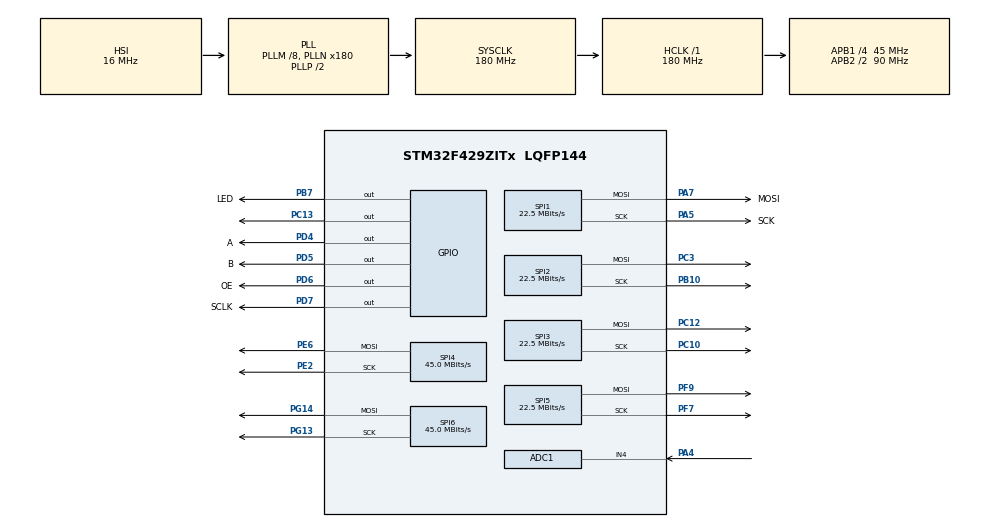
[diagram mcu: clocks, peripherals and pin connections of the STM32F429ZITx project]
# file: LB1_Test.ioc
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ADC1.Channel-3\#ChannelRegularConversion=ADC_CHANNEL_4
ADC1.NbrOfConversionFlag=1
ADC1.Rank-3\#ChannelRegularConversion=1
ADC1.SamplingTime-3\#ChannelRegularConversion=ADC_SAMPLETIME_3CYCLES
ADC1.master=1
Mcu.Family=STM32F4
Mcu.Name=STM32F429ZITx
Mcu.Package=LQFP144
NVIC.PriorityGroup=NVIC_PRIORITYGROUP_4
NVIC.RCC_IRQn=true\:0\:0\:false\:false\:true\:true\:false\:true
NVIC.TIM1_UP_TIM10_IRQn=true\:0\:0\:false\:false\:true\:true\:true\:true
NVIC.TIM2_IRQn=true\:0\:0\:false\:false\:true\:true\:true\:true
PA4.Signal=ADCx_IN4
PA5.GPIO_Label=SCK
PA5.Mode=TX_Only_Simplex_Unidirect_Master
PA5.Signal=SPI1_SCK
PA7.GPIO_Label=MOSI
PA7.Mode=TX_Only_Simplex_Unidirect_Master
PA7.Signal=SPI1_MOSI
PB10.Mode=TX_Only_Simplex_Unidirect_Master
PB10.Signal=SPI2_SCK
PB7.GPIO_Label=LED
PB7.Signal=GPIO_Output
PC10.Mode=TX_Only_Simplex_Unidirect_Master
PC10.Signal=SPI3_SCK
PC12.Mode=TX_Only_Simplex_Unidirect_Master
PC12.Signal=SPI3_MOSI
PC13.Signal=GPIO_Output
PC14/OSC32_IN.Mode=LSE-External-Oscillator
PC14/OSC32_IN.Signal=RCC_OSC32_IN
PC15/OSC32_OUT.Mode=LSE-External-Oscillator
PC15/OSC32_OUT.Signal=RCC_OSC32_OUT
PC3.Mode=TX_Only_Simplex_Unidirect_Master
PC3.Signal=SPI2_MOSI
PD4.GPIO_Label=A
PD4.Signal=GPIO_Output
PD5.GPIO_Label=B
PD5.Signal=GPIO_Output
PD6.GPIO_Label=OE
PD6.Signal=GPIO_Output
PD7.GPIO_Label=SCLK
PD7.Signal=GPIO_Output
PE2.Mode=TX_Only_Simplex_Unidirect_Master
PE2.Signal=SPI4_SCK
PE6.Mode=TX_Only_Simplex_Unidirect_Master
PE6.Signal=SPI4_MOSI
PF7.Mode=TX_Only_Simplex_Unidirect_Master
PF7.Signal=SPI5_SCK
PF9.Mode=TX_Only_Simplex_Unidirect_Master
PF9.Signal=SPI5_MOSI
PG13.Mode=TX_Only_Simplex_Unidirect_Master
PG13.Signal=SPI6_SCK
PG14.Mode=TX_Only_Simplex_Unidirect_Master
PG14.Signal=SPI6_MOSI
PH0/OSC_IN.Mode=HSE-External-Oscillator
PH0/OSC_IN.Signal=RCC_OSC_IN
PH1/OSC_OUT.Mode=HSE-External-Oscillator
PH1/OSC_OUT.Signal=RCC_OSC_OUT
ProjectManager.HeapSize=0x200
ProjectManager.StackSize=0x400
ProjectManager.TargetToolchain=STM32CubeIDE
RCC.48MHZClocksFreq_Value=90000000
RCC.AHBFreq_Value=180000000
RCC.APB1CLKDivider=RCC_HCLK_DIV4
RCC.APB1Freq_Value=45000000
RCC.APB1TimFreq_Value=90000000
RCC.APB2CLKDivider=RCC_HCLK_DIV2
RCC.APB2Freq_Value=90000000
RCC.APB2TimFreq_Value=180000000
RCC.CortexFreq_Value=180000000
RCC.HCLKFreq_Value=180000000
RCC.HSE_VALUE=25000000
RCC.HSI_VALUE=16000000
RCC.PLLM=8
RCC.PLLN=180
RCC.SYSCLKFreq_VALUE=180000000
RCC.SYSCLKSource=RCC_SYSCLKSOURCE_PLLCLK
RCC.VCOOutputFreq_Value=360000000
SH.ADCx_IN4.0=ADC1_IN4,IN4
SPI1.BaudRatePrescaler=SPI_BAUDRATEPRESCALER_4
SPI1.CalculateBaudRate=22.5 MBits/s
SPI1.Direction=SPI_DIRECTION_2LINES
SPI1.Mode=SPI_MODE_MASTER
SPI1.VirtualType=VM_MASTER
SPI2.BaudRatePrescaler=SPI_BAUDRATEPRESCALER_2
SPI2.CalculateBaudRate=22.5 MBits/s
SPI2.Direction=SPI_DIRECTION_2LINES
SPI2.Mode=SPI_MODE_MASTER
SPI2.VirtualType=VM_MASTER
SPI3.BaudRatePrescaler=SPI_BAUDRATEPRESCALER_2
SPI3.CalculateBaudRate=22.5 MBits/s
SPI3.Direction=SPI_DIRECTION_2LINES
SPI3.Mode=SPI_MODE_MASTER
SPI3.VirtualType=VM_MASTER
SPI4.BaudRatePrescaler=SPI_BAUDRATEPRESCALER_2
SPI4.CalculateBaudRate=45.0 MBits/s
SPI4.Direction=SPI_DIRECTION_2LINES
SPI4.Mode=SPI_MODE_MASTER
SPI4.VirtualType=VM_MASTER
SPI5.BaudRatePrescaler=SPI_BAUDRATEPRESCALER_4
SPI5.CalculateBaudRate=22.5 MBits/s
SPI5.Direction=SPI_DIRECTION_2LINES
SPI5.Mode=SPI_MODE_MASTER
SPI5.VirtualType=VM_MASTER
SPI6.CalculateBaudRate=45.0 MBits/s
SPI6.Direction=SPI_DIRECTION_2LINES
SPI6.Mode=SPI_MODE_MASTER
SPI6.VirtualType=VM_MASTER
TIM1.Period=1000
TIM1.Prescaler=1000
TIM2.Period=1000
TIM2.Prescaler=1000
VP_TIM1_VS_ClockSourceINT.Mode=Internal
VP_TIM2_VS_ClockSourceINT.Mode=Internal
board=custom

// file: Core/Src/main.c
/* USER CODE BEGIN Header */
/**
  ******************************************************************************
  * @file           : main.c
  * @brief          : Main program body
  ******************************************************************************
  * @attention
  *
  * Copyright (c) 2023 STMicroelectronics.
  * All rights reserved.
  *
  * This software is licensed under terms that can be found in the LICENSE file
  * in the root directory of this software component.
  * If no LICENSE file comes with this software, it is provided AS-IS.
  *
  ******************************************************************************
  */
/* USER CODE END Header */
#include "main.h"

/* USER CODE BEGIN Includes */
#include "display.h"
/* USER CODE END Includes */

/* USER CODE BEGIN PTD */
extern displ;
extern move;
uint16_t g = 0;
/* USER CODE END PTD */

ADC_HandleTypeDef hadc1;

SPI_HandleTypeDef hspi1;
SPI_HandleTypeDef hspi2;
SPI_HandleTypeDef hspi3;
SPI_HandleTypeDef hspi4;
SPI_HandleTypeDef hspi5;
SPI_HandleTypeDef hspi6;

TIM_HandleTypeDef htim1;
TIM_HandleTypeDef htim2;

void SystemClock_Config(void);
static void MX_GPIO_Init(void);
static void MX_SPI1_Init(void);
static void MX_TIM2_Init(void);
static void MX_ADC1_Init(void);
static void MX_TIM1_Init(void);
static void MX_SPI2_Init(void);
static void MX_SPI3_Init(void);
static void MX_SPI4_Init(void);
static void MX_SPI6_Init(void);
static void MX_SPI5_Init(void);

int main(void)
{
  /* USER CODE BEGIN 1 */
//  uint8_t pData = 0b11111110;

  /* USER CODE END 1 */

  /* MCU Configuration--------------------------------------------------------*/

  /* Reset of all peripherals, Initializes the Flash interface and the Systick. */
  HAL_Init();

  /* Configure the system clock */
  SystemClock_Config();

  /* Initialize all configured peripherals */
  MX_GPIO_Init();
  MX_SPI1_Init();
  MX_TIM2_Init();
  MX_ADC1_Init();
  MX_TIM1_Init();
  MX_SPI2_Init();
  MX_SPI3_Init();
  MX_SPI4_Init();
  MX_SPI6_Init();
  MX_SPI5_Init();

  /* Infinite loop */
  /* USER CODE BEGIN WHILE */
  uint8_t cadr_show = 0;
  uint8_t b = 0; //Количесто
  while (1)
  {
	  HAL_ADC_Start(&hadc1);
	  HAL_ADC_PollForConversion(&hadc1,10);
	  g = HAL_ADC_GetValue(&hadc1);
	  move = g/292;
	  HAL_ADC_Stop(&hadc1);
	  cadr_show++;
	  Display_Test(cadr_show,b);
	  if (cadr_show == 16) {
		  cadr_show = 0;
		  b++;
	  };
	  //Тут число 44 - число элементов в массиве препядствия
	  if (b >= 44) {
		  b = 0;
	  };
    /* USER CODE END WHILE */

  }
}

void SystemClock_Config(void)
{
  RCC_OscInitTypeDef RCC_OscInitStruct = {0};
  RCC_ClkInitTypeDef RCC_ClkInitStruct = {0};

  /** Configure the main internal regulator output voltage
  */
  __HAL_RCC_PWR_CLK_ENABLE();
  __HAL_PWR_VOLTAGESCALING_CONFIG(PWR_REGULATOR_VOLTAGE_SCALE1);

  /** Initializes the RCC Oscillators according to the specified parameters
  * in the RCC_OscInitTypeDef structure.
  */
  RCC_OscInitStruct.OscillatorType = RCC_OSCILLATORTYPE_HSI;
  RCC_OscInitStruct.HSIState = RCC_HSI_ON;
  RCC_OscInitStruct.HSICalibrationValue = RCC_HSICALIBRATION_DEFAULT;
  RCC_OscInitStruct.PLL.PLLState = RCC_PLL_ON;
  RCC_OscInitStruct.PLL.PLLSource = RCC_PLLSOURCE_HSI;
  RCC_OscInitStruct.PLL.PLLM = 8;
  RCC_OscInitStruct.PLL.PLLN = 180;
  RCC_OscInitStruct.PLL.PLLP = RCC_PLLP_DIV2;
  RCC_OscInitStruct.PLL.PLLQ = 4;
  if (HAL_RCC_OscConfig(&RCC_OscInitStruct) != HAL_OK)
  {
    Error_Handler();
  }

  /** Activate the Over-Drive mode
  */
  if (HAL_PWREx_EnableOverDrive() != HAL_OK)
  {
    Error_Handler();
  }

  /** Initializes the CPU, AHB and APB buses clocks
  */
  RCC_ClkInitStruct.ClockType = RCC_CLOCKTYPE_HCLK|RCC_CLOCKTYPE_SYSCLK
                              |RCC_CLOCKTYPE_PCLK1|RCC_CLOCKTYPE_PCLK2;
  RCC_ClkInitStruct.SYSCLKSource = RCC_SYSCLKSOURCE_PLLCLK;
  RCC_ClkInitStruct.AHBCLKDivider = RCC_SYSCLK_DIV1;
  RCC_ClkInitStruct.APB1CLKDivider = RCC_HCLK_DIV4;
  RCC_ClkInitStruct.APB2CLKDivider = RCC_HCLK_DIV2;

  if (HAL_RCC_ClockConfig(&RCC_ClkInitStruct, FLASH_LATENCY_5) != HAL_OK)
  {
    Error_Handler();
  }
}

static void MX_ADC1_Init(void)
{

  ADC_ChannelConfTypeDef sConfig = {0};

  /** Configure the global features of the ADC (Clock, Resolution, Data Alignment and number of conversion)
  */
  hadc1.Instance = ADC1;
  hadc1.Init.ClockPrescaler = ADC_CLOCK_SYNC_PCLK_DIV4;
  hadc1.Init.Resolution = ADC_RESOLUTION_12B;
  hadc1.Init.ScanConvMode = DISABLE;
  hadc1.Init.ContinuousConvMode = DISABLE;
  hadc1.Init.DiscontinuousConvMode = DISABLE;
  hadc1.Init.ExternalTrigConvEdge = ADC_EXTERNALTRIGCONVEDGE_NONE;
  hadc1.Init.ExternalTrigConv = ADC_SOFTWARE_START;
  hadc1.Init.DataAlign = ADC_DATAALIGN_RIGHT;
  hadc1.Init.NbrOfConversion = 1;
  hadc1.Init.DMAContinuousRequests = DISABLE;
  hadc1.Init.EOCSelection = ADC_EOC_SINGLE_CONV;
  if (HAL_ADC_Init(&hadc1) != HAL_OK)
  {
    Error_Handler();
  }

  /** Configure for the selected ADC regular channel its corresponding rank in the sequencer and its sample time.
  */
  sConfig.Channel = ADC_CHANNEL_4;
  sConfig.Rank = 1;
  sConfig.SamplingTime = ADC_SAMPLETIME_3CYCLES;
  if (HAL_ADC_ConfigChannel(&hadc1, &sConfig) != HAL_OK)
  {
    Error_Handler();
  }

}

static void MX_SPI1_Init(void)
{

  /* SPI1 parameter configuration*/
  hspi1.Instance = SPI1;
  hspi1.Init.Mode = SPI_MODE_MASTER;
  hspi1.Init.Direction = SPI_DIRECTION_2LINES;
  hspi1.Init.DataSize = SPI_DATASIZE_8BIT;
  hspi1.Init.CLKPolarity = SPI_POLARITY_LOW;
  hspi1.Init.CLKPhase = SPI_PHASE_1EDGE;
  hspi1.Init.NSS = SPI_NSS_SOFT;
  hspi1.Init.BaudRatePrescaler = SPI_BAUDRATEPRESCALER_4;
  hspi1.Init.FirstBit = SPI_FIRSTBIT_MSB;
  hspi1.Init.TIMode = SPI_TIMODE_DISABLE;
  hspi1.Init.CRCCalculation = SPI_CRCCALCULATION_DISABLE;
  hspi1.Init.CRCPolynomial = 10;
  if (HAL_SPI_Init(&hspi1) != HAL_OK)
  {
    Error_Handler();
  }

}

static void MX_SPI2_Init(void)
{

  /* SPI2 parameter configuration*/
  hspi2.Instance = SPI2;
  hspi2.Init.Mode = SPI_MODE_MASTER;
  hspi2.Init.Direction = SPI_DIRECTION_2LINES;
  hspi2.Init.DataSize = SPI_DATASIZE_8BIT;
  hspi2.Init.CLKPolarity = SPI_POLARITY_LOW;
  hspi2.Init.CLKPhase = SPI_PHASE_1EDGE;
  hspi2.Init.NSS = SPI_NSS_SOFT;
  hspi2.Init.BaudRatePrescaler = SPI_BAUDRATEPRESCALER_2;
  hspi2.Init.FirstBit = SPI_FIRSTBIT_MSB;
  hspi2.Init.TIMode = SPI_TIMODE_DISABLE;
  hspi2.Init.CRCCalculation = SPI_CRCCALCULATION_DISABLE;
  hspi2.Init.CRCPolynomial = 10;
  if (HAL_SPI_Init(&hspi2) != HAL_OK)
  {
    Error_Handler();
  }

}

static void MX_SPI3_Init(void)
{

  /* SPI3 parameter configuration*/
  hspi3.Instance = SPI3;
  hspi3.Init.Mode = SPI_MODE_MASTER;
  hspi3.Init.Direction = SPI_DIRECTION_2LINES;
  hspi3.Init.DataSize = SPI_DATASIZE_8BIT;
  hspi3.Init.CLKPolarity = SPI_POLARITY_LOW;
  hspi3.Init.CLKPhase = SPI_PHASE_1EDGE;
  hspi3.Init.NSS = SPI_NSS_SOFT;
  hspi3.Init.BaudRatePrescaler = SPI_BAUDRATEPRESCALER_2;
  hspi3.Init.FirstBit = SPI_FIRSTBIT_MSB;
  hspi3.Init.TIMode = SPI_TIMODE_DISABLE;
  hspi3.Init.CRCCalculation = SPI_CRCCALCULATION_DISABLE;
  hspi3.Init.CRCPolynomial = 10;
  if (HAL_SPI_Init(&hspi3) != HAL_OK)
  {
    Error_Handler();
  }

}

static void MX_SPI4_Init(void)
{

  /* SPI4 parameter configuration*/
  hspi4.Instance = SPI4;
  hspi4.Init.Mode = SPI_MODE_MASTER;
  hspi4.Init.Direction = SPI_DIRECTION_2LINES;
  hspi4.Init.DataSize = SPI_DATASIZE_8BIT;
  hspi4.Init.CLKPolarity = SPI_POLARITY_LOW;
  hspi4.Init.CLKPhase = SPI_PHASE_1EDGE;
  hspi4.Init.NSS = SPI_NSS_SOFT;
  hspi4.Init.BaudRatePrescaler = SPI_BAUDRATEPRESCALER_2;
  hspi4.Init.FirstBit = SPI_FIRSTBIT_MSB;
  hspi4.Init.TIMode = SPI_TIMODE_DISABLE;
  hspi4.Init.CRCCalculation = SPI_CRCCALCULATION_DISABLE;
  hspi4.Init.CRCPolynomial = 10;
  if (HAL_SPI_Init(&hspi4) != HAL_OK)
  {
    Error_Handler();
  }

}

static void MX_SPI5_Init(void)
{

  /* SPI5 parameter configuration*/
  hspi5.Instance = SPI5;
  hspi5.Init.Mode = SPI_MODE_MASTER;
  hspi5.Init.Direction = SPI_DIRECTION_2LINES;
  hspi5.Init.DataSize = SPI_DATASIZE_8BIT;
  hspi5.Init.CLKPolarity = SPI_POLARITY_LOW;
  hspi5.Init.CLKPhase = SPI_PHASE_1EDGE;
  hspi5.Init.NSS = SPI_NSS_SOFT;
  hspi5.Init.BaudRatePrescaler = SPI_BAUDRATEPRESCALER_4;
  hspi5.Init.FirstBit = SPI_FIRSTBIT_MSB;
  hspi5.Init.TIMode = SPI_TIMODE_DISABLE;
  hspi5.Init.CRCCalculation = SPI_CRCCALCULATION_DISABLE;
  hspi5.Init.CRCPolynomial = 10;
  if (HAL_SPI_Init(&hspi5) != HAL_OK)
  {
    Error_Handler();
  }

}

static void MX_SPI6_Init(void)
{

  /* SPI6 parameter configuration*/
  hspi6.Instance = SPI6;
  hspi6.Init.Mode = SPI_MODE_MASTER;
  hspi6.Init.Direction = SPI_DIRECTION_2LINES;
  hspi6.Init.DataSize = SPI_DATASIZE_8BIT;
  hspi6.Init.CLKPolarity = SPI_POLARITY_LOW;
  hspi6.Init.CLKPhase = SPI_PHASE_1EDGE;
  hspi6.Init.NSS = SPI_NSS_SOFT;
  hspi6.Init.BaudRatePrescaler = SPI_BAUDRATEPRESCALER_2;
  hspi6.Init.FirstBit = SPI_FIRSTBIT_MSB;
  hspi6.Init.TIMode = SPI_TIMODE_DISABLE;
  hspi6.Init.CRCCalculation = SPI_CRCCALCULATION_DISABLE;
  hspi6.Init.CRCPolynomial = 10;
  if (HAL_SPI_Init(&hspi6) != HAL_OK)
  {
    Error_Handler();
  }

}

static void MX_TIM1_Init(void)
{

  TIM_ClockConfigTypeDef sClockSourceConfig = {0};
  TIM_MasterConfigTypeDef sMasterConfig = {0};

  htim1.Instance = TIM1;
  htim1.Init.Prescaler = 1000;
  htim1.Init.CounterMode = TIM_COUNTERMODE_UP;
  htim1.Init.Period = 1000;
  htim1.Init.ClockDivision = TIM_CLOCKDIVISION_DIV1;
  htim1.Init.RepetitionCounter = 0;
  htim1.Init.AutoReloadPreload = TIM_AUTORELOAD_PRELOAD_DISABLE;
  if (HAL_TIM_Base_Init(&htim1) != HAL_OK)
  {
    Error_Handler();
  }
  sClockSourceConfig.ClockSource = TIM_CLOCKSOURCE_INTERNAL;
  if (HAL_TIM_ConfigClockSource(&htim1, &sClockSourceConfig) != HAL_OK)
  {
    Error_Handler();
  }
  sMasterConfig.MasterOutputTrigger = TIM_TRGO_RESET;
  sMasterConfig.MasterSlaveMode = TIM_MASTERSLAVEMODE_DISABLE;
  if (HAL_TIMEx_MasterConfigSynchronization(&htim1, &sMasterConfig) != HAL_OK)
  {
    Error_Handler();
  }

}

static void MX_TIM2_Init(void)
{

  TIM_ClockConfigTypeDef sClockSourceConfig = {0};
  TIM_MasterConfigTypeDef sMasterConfig = {0};

  htim2.Instance = TIM2;
  htim2.Init.Prescaler = 1000;
  htim2.Init.CounterMode = TIM_COUNTERMODE_UP;
  htim2.Init.Period = 1000;
  htim2.Init.ClockDivision = TIM_CLOCKDIVISION_DIV1;
  htim2.Init.AutoReloadPreload = TIM_AUTORELOAD_PRELOAD_DISABLE;
  if (HAL_TIM_Base_Init(&htim2) != HAL_OK)
  {
    Error_Handler();
  }
  sClockSourceConfig.ClockSource = TIM_CLOCKSOURCE_INTERNAL;
  if (HAL_TIM_ConfigClockSource(&htim2, &sClockSourceConfig) != HAL_OK)
  {
    Error_Handler();
  }
  sMasterConfig.MasterOutputTrigger = TIM_TRGO_RESET;
  sMasterConfig.MasterSlaveMode = TIM_MASTERSLAVEMODE_DISABLE;
  if (HAL_TIMEx_MasterConfigSynchronization(&htim2, &sMasterConfig) != HAL_OK)
  {
    Error_Handler();
  }

}

static void MX_GPIO_Init(void)
{
  GPIO_InitTypeDef GPIO_InitStruct = {0};

  /* GPIO Ports Clock Enable */
  __HAL_RCC_GPIOE_CLK_ENABLE();
  __HAL_RCC_GPIOC_CLK_ENABLE();
  __HAL_RCC_GPIOF_CLK_ENABLE();
  __HAL_RCC_GPIOH_CLK_ENABLE();
  __HAL_RCC_GPIOA_CLK_ENABLE();
  __HAL_RCC_GPIOB_CLK_ENABLE();
  __HAL_RCC_GPIOD_CLK_ENABLE();
  __HAL_RCC_GPIOG_CLK_ENABLE();

  /*Configure GPIO pin Output Level */
  HAL_GPIO_WritePin(GPIOC, GPIO_PIN_13, GPIO_PIN_RESET);

  /*Configure GPIO pin Output Level */
  HAL_GPIO_WritePin(GPIOD, A_Pin|B_Pin|OE_Pin|SCLK_Pin, GPIO_PIN_RESET);

  /*Configure GPIO pin Output Level */
  HAL_GPIO_WritePin(LED_GPIO_Port, LED_Pin, GPIO_PIN_RESET);

  /*Configure GPIO pin : PC13 */
  GPIO_InitStruct.Pin = GPIO_PIN_13;
  GPIO_InitStruct.Mode = GPIO_MODE_OUTPUT_PP;
  GPIO_InitStruct.Pull = GPIO_NOPULL;
  GPIO_InitStruct.Speed = GPIO_SPEED_FREQ_LOW;
  HAL_GPIO_Init(GPIOC, &GPIO_InitStruct);

  /*Configure GPIO pins : A_Pin B_Pin OE_Pin SCLK_Pin */
  GPIO_InitStruct.Pin = A_Pin|B_Pin|OE_Pin|SCLK_Pin;
  GPIO_InitStruct.Mode = GPIO_MODE_OUTPUT_PP;
  GPIO_InitStruct.Pull = GPIO_NOPULL;
  GPIO_InitStruct.Speed = GPIO_SPEED_FREQ_LOW;
  HAL_GPIO_Init(GPIOD, &GPIO_InitStruct);

  /*Configure GPIO pin : LED_Pin */
  GPIO_InitStruct.Pin = LED_Pin;
  GPIO_InitStruct.Mode = GPIO_MODE_OUTPUT_PP;
  GPIO_InitStruct.Pull = GPIO_NOPULL;
  GPIO_InitStruct.Speed = GPIO_SPEED_FREQ_LOW;
  HAL_GPIO_Init(LED_GPIO_Port, &GPIO_InitStruct);

}

void Error_Handler(void)
{
  __disable_irq();
  while (1)
  {
  }
}
